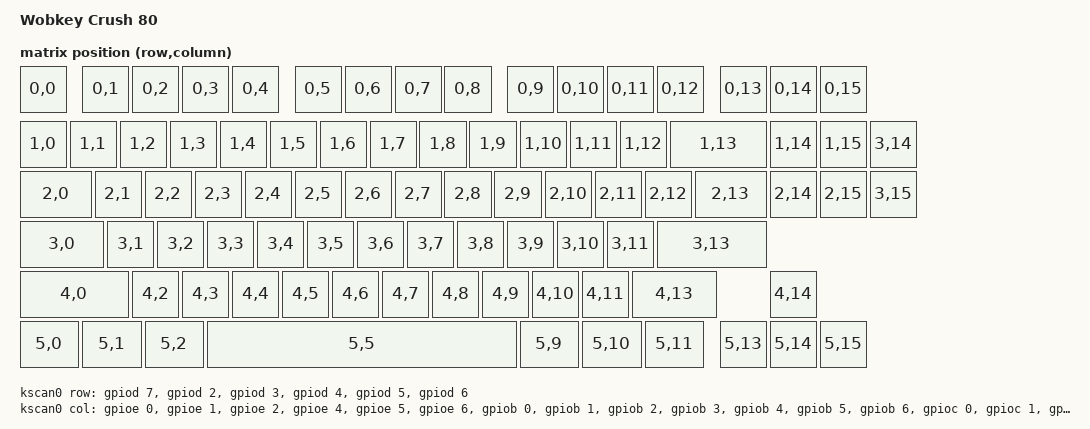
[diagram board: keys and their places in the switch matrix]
/dts-v1/;

#include <freq.h>
#include <telink/telink_b91.dtsi>
#include <zephyr/dt-bindings/gpio/gpio.h>
#include <dt-bindings/zmk/matrix_transform.h>
#include <dt-bindings/led/led.h>
#include <physical_layouts.dtsi>
#include <zephyr/dt-bindings/pinctrl/b91-pinctrl.h>

/*
 * Wobkey Crush 80 — DTS board definition
 *
 * MCU: Telink TLSR9511 (B91, RISC-V)
 *   CONFIRMED: USB descriptor string at firmware offset 0x1DB20 reads "TLSR9511"
 *
 * LED driver: AW20216S (SPI-connected LED matrix controller)
 *   CONFIRMED: 0xFD 0x00 AW20216S page-select command found at 3 locations in firmware
 *   NOTE: zmk,underglow is intentionally NOT set here. A separate AW20216S driver
 *   must be written (zmk/drivers/led/aw20216s.c) before RGB works.
 *
 * Matrix: 6 active rows x 16 cols (physical scan)
 *   CONFIRMED: v2_update.md states "Same 16x6 scan routine, same pin assignments"
 *
 * GPIO assignments:
 *   LIKELY CORRECT: v2_update.md explicitly states "same pin assignments" as the
 *   Rainy 75 Pro, which has been hardware-validated. These are directly copied from
 *   the Rainy 75 Pro DTS (scholzri/rainy75-zmk). Validate at bring-up by pressing
 *   known keys and checking ZMK matrix debug log.
 *
 * AW20216S SPI pins:
 *   UNKNOWN: Not yet extracted. Requires Ghidra analysis of LED init at ~0xEF88
 *   or SPI peripheral register trace. Added as a TODO node with placeholder pins.
 */

/ {
	model = "Wobkey Crush 80";
	compatible = "wobkey,crush80";

	aliases {
		watchdog0 = &wdt0;
	};

	chosen {
		zephyr,sram = &ram_dlm;
		zephyr,flash = &flash;
		zephyr,flash-controller = &flash_mspi;
		zephyr,code-partition = &slot0_partition;
		zephyr,bt-hci = &bt_hci;
		zephyr,boot-mode = &retention_boot_mode;
		zmk,battery = &battery;
		zmk,kscan = &kscan0;
		zmk,physical-layout = &crush80_layout;
		/* LED controllers: aw20216s0 and aw20216s1 (2x AW20216S via GSPI).
		 * zmk,underglow not set here — crush80_rgb.c addresses both chips directly.
		 * Pins confirmed: PE0=CS0, PE1=CLK, PE2=MOSI, PC0=CS1, PC2=power */
	};

	sram_noinit: sram@9FFF0 {
		compatible = "zephyr,memory-region", "mmio-sram";
		reg = <0x9FFF0 0x10>;
		zephyr,memory-region = "RetainedMem";
		status = "okay";

		retainedmem {
			compatible = "zephyr,retained-ram";
			status = "okay";
			#address-cells = <1>;
			#size-cells = <1>;

			retention_boot_mode: boot_mode@0 {
				compatible = "zephyr,retention";
				status = "okay";
				reg = <0x0 0x10>;
			};
		};
	};

	bt_hci: bt_hci {
		compatible = "telink,b91-bt-hci";
		status = "okay";
	};

	/*
	 * Matrix transform: 6 rows x 16 cols
	 * Derived from firmware/Crush80-RGB-USB.JSON matrix positions.
	 * 88 keys total (ANSI layout).
	 *
	 * Row 0: ESC F1  F2  F3  F4  | F5  F6  F7  F8  | F9  F10 F11 F12 | PrtSc ScrLk Pause
	 * Row 1: `   1   2   3   4   5  6   7   8   9   0   -   =  BSP  | Ins  Home  PgUp
	 * Row 2: TAB Q   W   E   R   T  Y   U   I   O   P   [   ]   \   | Del  End   PgDn
	 * Row 3: CAP A   S   D   F   G  H   J   K   L   ;   '  ENT      |
	 * Row 4: LSH Z   X   C   V   B  N   M   ,   .   /  RSH          | Up
	 * Row 5: LCT LWN LAL         SPC         RAL Fn  RCT | Lft  Dn  Rgt
	 */
	default_transform: keymap_transform_0 {
		compatible = "zmk,matrix-transform";
		columns = <16>;
		rows = <6>;
		map = <
			/* Row 0: function row (16 keys) */
			RC(0,0)  RC(0,1)  RC(0,2)  RC(0,3)  RC(0,4)  RC(0,5)  RC(0,6)  RC(0,7)
			RC(0,8)  RC(0,9)  RC(0,10) RC(0,11) RC(0,12) RC(0,13) RC(0,14) RC(0,15)
			/* Row 1: number row (14 keys + nav cluster) */
			RC(1,0)  RC(1,1)  RC(1,2)  RC(1,3)  RC(1,4)  RC(1,5)  RC(1,6)  RC(1,7)
			RC(1,8)  RC(1,9)  RC(1,10) RC(1,11) RC(1,12) RC(1,13)
			RC(1,14) RC(1,15) RC(3,14)
			/* Row 2: QWERTY row (14 keys + nav cluster) */
			RC(2,0)  RC(2,1)  RC(2,2)  RC(2,3)  RC(2,4)  RC(2,5)  RC(2,6)  RC(2,7)
			RC(2,8)  RC(2,9)  RC(2,10) RC(2,11) RC(2,12) RC(2,13)
			RC(2,14) RC(2,15) RC(3,15)
			/* Row 3: home row (12 keys + Enter) */
			RC(3,0)  RC(3,1)  RC(3,2)  RC(3,3)  RC(3,4)  RC(3,5)  RC(3,6)  RC(3,7)
			RC(3,8)  RC(3,9)  RC(3,10) RC(3,11)                    RC(3,13)
			/* Row 4: shift row (12 keys + RShift + Up) */
			RC(4,0)           RC(4,2)  RC(4,3)  RC(4,4)  RC(4,5)  RC(4,6)  RC(4,7)
			RC(4,8)  RC(4,9)  RC(4,10) RC(4,11)           RC(4,13) RC(4,14)
			/* Row 5: bottom row (10 keys) */
			RC(5,0)  RC(5,1)  RC(5,2)                     RC(5,5)
			RC(5,9)  RC(5,10) RC(5,11)          RC(5,13) RC(5,14) RC(5,15)
		>;
	};

	/*
	 * Physical layout for ZMK Studio key visualizer.
	 * Coordinates in centiunits (100 = 1U key width).
	 * NOTE: Positions are approximate, derived from Crush80-RGB-USB.JSON.
	 * Refine using actual PCB measurements if ZMK Studio rendering is off.
	 */
	crush80_layout: crush80_layout {
		compatible = "zmk,physical-layout";
		display-name = "Crush 80 ANSI";
		transform = <&default_transform>;

		keys  //                     w    h    x    y   rot  rx   ry
		    /* Row 0 — function row */
		    = <&key_physical_attrs 100 100    0    0     0    0    0>  /* ESC */
		    , <&key_physical_attrs 100 100  125    0     0    0    0>  /* F1 */
		    , <&key_physical_attrs 100 100  225    0     0    0    0>  /* F2 */
		    , <&key_physical_attrs 100 100  325    0     0    0    0>  /* F3 */
		    , <&key_physical_attrs 100 100  425    0     0    0    0>  /* F4 */
		    , <&key_physical_attrs 100 100  550    0     0    0    0>  /* F5 */
		    , <&key_physical_attrs 100 100  650    0     0    0    0>  /* F6 */
		    , <&key_physical_attrs 100 100  750    0     0    0    0>  /* F7 */
		    , <&key_physical_attrs 100 100  850    0     0    0    0>  /* F8 */
		    , <&key_physical_attrs 100 100  975    0     0    0    0>  /* F9 */
		    , <&key_physical_attrs 100 100 1075    0     0    0    0>  /* F10 */
		    , <&key_physical_attrs 100 100 1175    0     0    0    0>  /* F11 */
		    , <&key_physical_attrs 100 100 1275    0     0    0    0>  /* F12 */
		    , <&key_physical_attrs 100 100 1400    0     0    0    0>  /* PrtSc */
		    , <&key_physical_attrs 100 100 1500    0     0    0    0>  /* ScrLk */
		    , <&key_physical_attrs 100 100 1600    0     0    0    0>  /* Pause/Break */
		    /* Row 1 — number row */
		    , <&key_physical_attrs 100 100    0  110     0    0    0>  /* ` */
		    , <&key_physical_attrs 100 100  100  110     0    0    0>  /* 1 */
		    , <&key_physical_attrs 100 100  200  110     0    0    0>  /* 2 */
		    , <&key_physical_attrs 100 100  300  110     0    0    0>  /* 3 */
		    , <&key_physical_attrs 100 100  400  110     0    0    0>  /* 4 */
		    , <&key_physical_attrs 100 100  500  110     0    0    0>  /* 5 */
		    , <&key_physical_attrs 100 100  600  110     0    0    0>  /* 6 */
		    , <&key_physical_attrs 100 100  700  110     0    0    0>  /* 7 */
		    , <&key_physical_attrs 100 100  800  110     0    0    0>  /* 8 */
		    , <&key_physical_attrs 100 100  900  110     0    0    0>  /* 9 */
		    , <&key_physical_attrs 100 100 1000  110     0    0    0>  /* 0 */
		    , <&key_physical_attrs 100 100 1100  110     0    0    0>  /* - */
		    , <&key_physical_attrs 100 100 1200  110     0    0    0>  /* = */
		    , <&key_physical_attrs 200 100 1300  110     0    0    0>  /* Backspace */
		    , <&key_physical_attrs 100 100 1500  110     0    0    0>  /* Insert */
		    , <&key_physical_attrs 100 100 1600  110     0    0    0>  /* Home */
		    , <&key_physical_attrs 100 100 1700  110     0    0    0>  /* PgUp */
		    /* Row 2 — QWERTY */
		    , <&key_physical_attrs 150 100    0  210     0    0    0>  /* Tab */
		    , <&key_physical_attrs 100 100  150  210     0    0    0>  /* Q */
		    , <&key_physical_attrs 100 100  250  210     0    0    0>  /* W */
		    , <&key_physical_attrs 100 100  350  210     0    0    0>  /* E */
		    , <&key_physical_attrs 100 100  450  210     0    0    0>  /* R */
		    , <&key_physical_attrs 100 100  550  210     0    0    0>  /* T */
		    , <&key_physical_attrs 100 100  650  210     0    0    0>  /* Y */
		    , <&key_physical_attrs 100 100  750  210     0    0    0>  /* U */
		    , <&key_physical_attrs 100 100  850  210     0    0    0>  /* I */
		    , <&key_physical_attrs 100 100  950  210     0    0    0>  /* O */
		    , <&key_physical_attrs 100 100 1050  210     0    0    0>  /* P */
		    , <&key_physical_attrs 100 100 1150  210     0    0    0>  /* [ */
		    , <&key_physical_attrs 100 100 1250  210     0    0    0>  /* ] */
		    , <&key_physical_attrs 150 100 1350  210     0    0    0>  /* \ (ANSI) */
		    , <&key_physical_attrs 100 100 1500  210     0    0    0>  /* Delete */
		    , <&key_physical_attrs 100 100 1600  210     0    0    0>  /* End */
		    , <&key_physical_attrs 100 100 1700  210     0    0    0>  /* PgDn */
		    /* Row 3 — home row */
		    , <&key_physical_attrs 175 100    0  310     0    0    0>  /* CapsLock */
		    , <&key_physical_attrs 100 100  175  310     0    0    0>  /* A */
		    , <&key_physical_attrs 100 100  275  310     0    0    0>  /* S */
		    , <&key_physical_attrs 100 100  375  310     0    0    0>  /* D */
		    , <&key_physical_attrs 100 100  475  310     0    0    0>  /* F */
		    , <&key_physical_attrs 100 100  575  310     0    0    0>  /* G */
		    , <&key_physical_attrs 100 100  675  310     0    0    0>  /* H */
		    , <&key_physical_attrs 100 100  775  310     0    0    0>  /* J */
		    , <&key_physical_attrs 100 100  875  310     0    0    0>  /* K */
		    , <&key_physical_attrs 100 100  975  310     0    0    0>  /* L */
		    , <&key_physical_attrs 100 100 1075  310     0    0    0>  /* ; */
		    , <&key_physical_attrs 100 100 1175  310     0    0    0>  /* ' */
		    , <&key_physical_attrs 225 100 1275  310     0    0    0>  /* Enter */
		    /* Row 4 — shift row */
		    , <&key_physical_attrs 225 100    0  410     0    0    0>  /* LShift */
		    , <&key_physical_attrs 100 100  225  410     0    0    0>  /* Z */
		    , <&key_physical_attrs 100 100  325  410     0    0    0>  /* X */
		    , <&key_physical_attrs 100 100  425  410     0    0    0>  /* C */
		    , <&key_physical_attrs 100 100  525  410     0    0    0>  /* V */
		    , <&key_physical_attrs 100 100  625  410     0    0    0>  /* B */
		    , <&key_physical_attrs 100 100  725  410     0    0    0>  /* N */
		    , <&key_physical_attrs 100 100  825  410     0    0    0>  /* M */
		    , <&key_physical_attrs 100 100  925  410     0    0    0>  /* , */
		    , <&key_physical_attrs 100 100 1025  410     0    0    0>  /* . */
		    , <&key_physical_attrs 100 100 1125  410     0    0    0>  /* / */
		    , <&key_physical_attrs 175 100 1225  410     0    0    0>  /* RShift */
		    , <&key_physical_attrs 100 100 1500  410     0    0    0>  /* Up */
		    /* Row 5 — bottom row */
		    , <&key_physical_attrs 125 100    0  510     0    0    0>  /* LCtrl */
		    , <&key_physical_attrs 125 100  125  510     0    0    0>  /* LWin */
		    , <&key_physical_attrs 125 100  250  510     0    0    0>  /* LAlt */
		    , <&key_physical_attrs 625 100  375  510     0    0    0>  /* Space */
		    , <&key_physical_attrs 125 100 1000  510     0    0    0>  /* RAlt */
		    , <&key_physical_attrs 125 100 1125  510     0    0    0>  /* Fn */
		    , <&key_physical_attrs 125 100 1250  510     0    0    0>  /* RCtrl */
		    , <&key_physical_attrs 100 100 1400  510     0    0    0>  /* Left */
		    , <&key_physical_attrs 100 100 1500  510     0    0    0>  /* Down */
		    , <&key_physical_attrs 100 100 1600  510     0    0    0>  /* Right */
		    ;
	};

	zephyr_udc0: usbd@80100800 {
		compatible = "telink,b91-usbd";
		reg = <0x80100800 0x400>;
		interrupt-parent = <&plic0>;
		interrupts = <11 2>;
		num-bidir-endpoints = <8>;
		status = "okay";
	};

	/*
	 * Key matrix scan.
	 *
	 * GPIO ASSIGNMENT STATUS: LIKELY CORRECT
	 * v2_update.md explicitly states "Same 16x6 scan routine, same pin assignments"
	 * between Crush 80 and the Evision platform reference.
	 * Rainy 75 Pro uses the same platform and has been hardware-validated.
	 *
	 * If keys misbehave at bring-up:
	 * 1. Enable CONFIG_ZMK_KSCAN_LOG_LEVEL_DBG in prj.conf
	 * 2. Press known keys and watch serial console output
	 * 3. If rows and cols are swapped, swap col-gpios/row-gpios lists
	 * 4. If a specific key is wrong, find its RC() and swap the GPIO entry
	 */
	kscan0: kscan {
		compatible = "zmk,kscan-gpio-matrix";
		diode-direction = "col2row";
		wakeup-source;

		col-gpios
			= <&gpioe 0 GPIO_ACTIVE_LOW>
			, <&gpioe 1 GPIO_ACTIVE_LOW>
			, <&gpioe 2 GPIO_ACTIVE_LOW>
			, <&gpioe 4 GPIO_ACTIVE_LOW>
			, <&gpioe 5 GPIO_ACTIVE_LOW>
			, <&gpioe 6 GPIO_ACTIVE_LOW>
			, <&gpiob 0 GPIO_ACTIVE_LOW>
			, <&gpiob 1 GPIO_ACTIVE_LOW>
			, <&gpiob 2 GPIO_ACTIVE_LOW>
			, <&gpiob 3 GPIO_ACTIVE_LOW>
			, <&gpiob 4 GPIO_ACTIVE_LOW>
			, <&gpiob 5 GPIO_ACTIVE_LOW>
			, <&gpiob 6 GPIO_ACTIVE_LOW>
			, <&gpioc 0 GPIO_ACTIVE_LOW>
			, <&gpioc 1 GPIO_ACTIVE_LOW>
			, <&gpioc 4 GPIO_ACTIVE_LOW>
			;

		row-gpios
			= <&gpiod 7 (GPIO_ACTIVE_LOW | GPIO_PULL_UP)>
			, <&gpiod 2 (GPIO_ACTIVE_LOW | GPIO_PULL_UP)>
			, <&gpiod 3 (GPIO_ACTIVE_LOW | GPIO_PULL_UP)>
			, <&gpiod 4 (GPIO_ACTIVE_LOW | GPIO_PULL_UP)>
			, <&gpiod 5 (GPIO_ACTIVE_LOW | GPIO_PULL_UP)>
			, <&gpiod 6 (GPIO_ACTIVE_LOW | GPIO_PULL_UP)>
			;
	};

	/*
	 * Battery ADC.
	 * LIKELY CORRECT: Rainy 75 uses PD1 (ADC channel 0x0A, half-divider).
	 * Confirmed from Rainy 75 hardware-probing GPIO scan.
	 * If battery reporting is wrong, scan ADC channels 0x01-0x0F at bring-up.
	 */
	battery: battery-adc {
		compatible = "telink,b91-battery-adc";
		adc-channel = <0x0A>;
		divider-numerator = <1>;
		divider-denominator = <2>;
		full-mv = <4200>;
		empty-mv = <3300>;
		status = "okay";
	};

	wdt0: watchdog@80140140 {
		compatible = "telink,b91-watchdog";
		reg = <0x80140140 0x20>;
		status = "okay";
	};
};

&cpu0 {
	clock-frequency = <DT_FREQ_M(48)>;
};

&ram_ilm {
	reg = <0x00000000 0x00020000>;
};

&ram_dlm {
	reg = <0x00080000 0x00020000>;
};

&flash {
	reg = <0x20000000 0x100000>;

	partitions {
		compatible = "fixed-partitions";
		#address-cells = <1>;
		#size-cells = <1>;

		boot_partition: partition@0 {
			label = "mcuboot";
			reg = <0x0 0x10000>;
		};

		slot0_partition: partition@10000 {
			label = "image-0";
			reg = <0x10000 0x70000>;
		};

		slot1_partition: partition@80000 {
			label = "image-1";
			reg = <0x80000 0x70000>;
		};

		storage_partition: partition@f0000 {
			label = "storage";
			reg = <0xf0000 0xe000>;
		};

		/*
		 * Reserved — do NOT include in partitions:
		 * 0xFE000-0xFEFFF: RF/ADC calibration data (Telink SDK, factory-written)
		 * 0xFF000-0xFF005: BLE MAC address (factory-written)
		 * These must be preserved or BLE and RF won't work.
		 */
	};
};

/*
 * AW20216S LED matrix controllers via B91 HSPI hardware SPI
 *
 * CONFIRMED from Ghidra analysis of FUN_ram_0000f2b4 (LED init at 0xF2B4):
 *   PE0 = HSPI CS chip 0   (GPIO active-low, manually toggled)
 *   PE1 = HSPI CLK         (FUNC_C alternate function)
 *   PE2 = HSPI MOSI        (FUNC_C alternate function)
 *   PC0 = HSPI CS chip 1   (GPIO active-low, manually toggled)
 *   PC2 = LED power MOSFET gate (active-high, same as Rainy 75)
 *
 * 154 LEDs × 3 ch = 462 channels. AW20216S max = 216 ch.
 * Two chips required. Channel mapping validated at bring-up.
 *
 * SPI frequency: firmware writes 0x45 to HSPI control (0x80140A02).
 * 0x45 = clock divider suggests ~1 MHz. Start at 1 MHz, increase if stable.
 */
&pinctrl {
	/* pad-mul-sel = 1: required for B91 GPIO pin routing. Same as Rainy 75. */
	pad-mul-sel = <1>;

	/* HSPI pinctrl kept for reference but HSPI node is disabled */
	hspi_clk_pe1_default: hspi_clk_pe1_default {
		pinmux = <B91_PINMUX_SET(B91_PORT_E, B91_PIN_1, B91_FUNC_C)>;
	};
	hspi_mosi_pe2_default: hspi_mosi_pe2_default {
		pinmux = <B91_PINMUX_SET(B91_PORT_E, B91_PIN_2, B91_FUNC_C)>;
	};
};

/*
 * HSPI disabled: PE0 is needed for kscan row 0 (F-row).
 * The AW20216S LED driver doesn't have a working ZMK driver yet anyway.
 * Re-enable once an AW20216S driver is implemented AND row 0 is moved
 * to a different GPIO (or CS is moved to a non-row pin).
 */
&hspi {
	status = "disabled";
};

&gpioa { status = "okay"; };
&gpiob { status = "okay"; };
&gpioc { status = "okay"; };

&gpiod {
	status = "okay";
	/* Row interrupt: use IRQ_GPIO (PLIC source 25) for port D rows.
	 * Per-port irq_en is not shared across ports unlike RISC0/RISC1. */
	interrupts = <25 1>;
};

&gpioe {
	status = "okay";
	interrupts = <27 1>;
};

/*
 * Override mtimer interrupt routing: machine timer fires as MTIP (mcause=7),
 * a level-1 interrupt handled directly by the core. The upstream B91 DTSI
 * incorrectly routes it through PLIC as source 7, colliding with USB when
 * CONFIG_2ND_LVL_ISR_TBL_OFFSET=12.
 */
&mtimer {
	interrupts-extended = <&hlic 7>;
};
